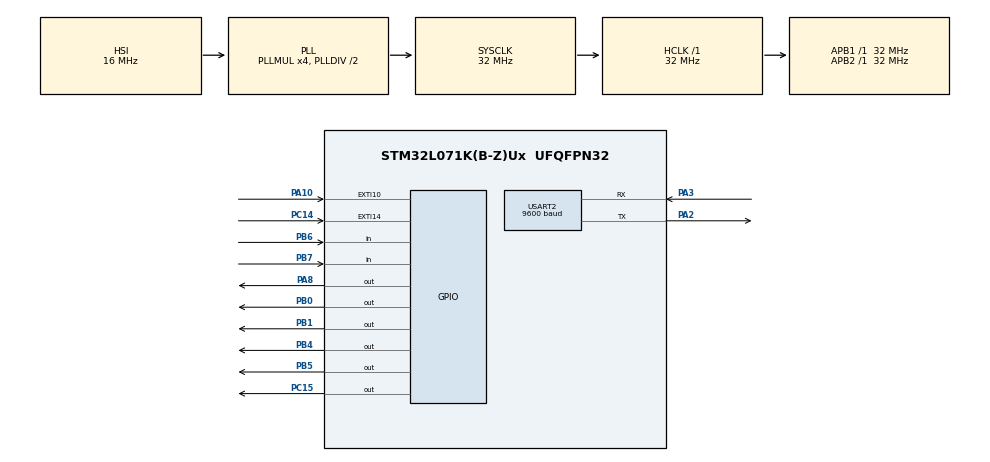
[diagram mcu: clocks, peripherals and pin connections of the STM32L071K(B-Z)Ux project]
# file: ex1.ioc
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Dma.MEMTOMEM.0.Direction=DMA_MEMORY_TO_MEMORY
Dma.MEMTOMEM.0.Instance=DMA1_Channel1
Dma.MEMTOMEM.0.MemDataAlignment=DMA_MDATAALIGN_BYTE
Dma.MEMTOMEM.0.MemInc=DMA_MINC_ENABLE
Dma.MEMTOMEM.0.Mode=DMA_NORMAL
Dma.MEMTOMEM.0.PeriphDataAlignment=DMA_PDATAALIGN_BYTE
Dma.MEMTOMEM.0.PeriphInc=DMA_PINC_ENABLE
Dma.MEMTOMEM.0.Priority=DMA_PRIORITY_LOW
Dma.Request0=MEMTOMEM
Dma.Request1=USART2_RX
Dma.USART2_RX.1.Direction=DMA_PERIPH_TO_MEMORY
Dma.USART2_RX.1.Instance=DMA1_Channel5
Dma.USART2_RX.1.MemDataAlignment=DMA_MDATAALIGN_BYTE
Dma.USART2_RX.1.MemInc=DMA_MINC_ENABLE
Dma.USART2_RX.1.Mode=DMA_CIRCULAR
Dma.USART2_RX.1.PeriphDataAlignment=DMA_PDATAALIGN_BYTE
Dma.USART2_RX.1.PeriphInc=DMA_PINC_DISABLE
Dma.USART2_RX.1.Priority=DMA_PRIORITY_LOW
Mcu.Family=STM32L0
Mcu.Name=STM32L071K(B-Z)Ux
Mcu.Package=UFQFPN32
NVIC.DMA1_Channel1_IRQn=true\:0\:0\:false\:false\:true\:true\:true
NVIC.DMA1_Channel4_5_6_7_IRQn=true\:0\:0\:false\:false\:true\:false\:true
NVIC.EXTI4_15_IRQn=true\:0\:0\:false\:false\:true\:true\:true
NVIC.TIM6_IRQn=true\:0\:0\:false\:false\:true\:true\:true
NVIC.USART2_IRQn=true\:0\:0\:false\:false\:true\:true\:true
PA10.GPIO_PuPd=GPIO_PULLUP
PA10.Signal=GPXTI10
PA13.Mode=Serial_Wire
PA13.Signal=SYS_SWDIO
PA14.Mode=Serial_Wire
PA14.Signal=SYS_SWCLK
PA2.Mode=Asynchronous
PA2.Signal=USART2_TX
PA3.Mode=Asynchronous
PA3.Signal=USART2_RX
PA8.GPIO_PuPd=GPIO_PULLDOWN
PA8.Signal=GPIO_Output
PB0.GPIO_PuPd=GPIO_PULLDOWN
PB0.Signal=GPIO_Output
PB1.GPIO_ModeDefaultOutputPP=GPIO_MODE_OUTPUT_PP
PB1.GPIO_PuPd=GPIO_PULLDOWN
PB1.Signal=GPIO_Output
PB4.Signal=GPIO_Output
PB5.Signal=GPIO_Output
PB6.GPIO_PuPd=GPIO_PULLDOWN
PB6.Signal=GPIO_Input
PB7.GPIO_PuPd=GPIO_PULLDOWN
PB7.Signal=GPIO_Input
PC14-OSC32_IN.GPIO_PuPd=GPIO_PULLDOWN
PC14-OSC32_IN.Signal=GPXTI14
PC15-OSC32_OUT.Signal=GPIO_Output
ProjectManager.HeapSize=0x200
ProjectManager.StackSize=0x400
ProjectManager.TargetToolchain=MDK-ARM V5
RCC.AHBFreq_Value=32000000
RCC.APB1Freq_Value=32000000
RCC.APB1TimFreq_Value=32000000
RCC.APB2Freq_Value=32000000
RCC.APB2TimFreq_Value=32000000
RCC.HCLKFreq_Value=32000000
RCC.HSI16_VALUE=16000000
RCC.HSI_VALUE=16000000
RCC.LSE_VALUE=32768
RCC.MSI_VALUE=2097000
RCC.PLLMUL=RCC_PLLMUL_4
RCC.SYSCLKFreq_VALUE=32000000
RCC.SYSCLKSource=RCC_SYSCLKSOURCE_PLLCLK
RCC.VCOOutputFreq_Value=64000000
RTC.Format=RTC_FORMAT_BIN
RTC.SynchPrediv=307
TIM6.Period=999
TIM6.Prescaler=31
USART2.BaudRate=9600
USART2.VirtualMode-Asynchronous=VM_ASYNC
VP_CRC_VS_CRC.Mode=CRC_Activate
VP_RTC_VS_RTC_Activate.Mode=RTC_Enabled
VP_RTC_VS_RTC_Calendar.Mode=RTC_Calendar
VP_TIM6_VS_ClockSourceINT.Mode=Enable_Timer
board=custom

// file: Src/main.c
/* USER CODE BEGIN Header */
/**
  ******************************************************************************
  * @file           : main.c
  * @brief          : Main program body
  ******************************************************************************
  * @attention
  *
  * <h2><center>&copy; Copyright (c) 2019 STMicroelectronics.
  * All rights reserved.</center></h2>
  *
  * This software component is licensed by ST under BSD 3-Clause license,
  * the "License"; You may not use this file except in compliance with the
  * License. You may obtain a copy of the License at:
  *                        opensource.org/licenses/BSD-3-Clause
  *
  ******************************************************************************
  */
/* USER CODE END Header */

#include "main.h"
#include "crc.h"
#include "dma.h"
#include "rtc.h"
#include "tim.h"
#include "usart.h"
#include "gpio.h"

/* USER CODE BEGIN Includes */
#include "stm32l0xx_hal.h"
#include "zm4xx_gpio.h"
#include "spi.h"
#include "timer.h"
#include "stddef.h"
#include "sx127x_lora.h"
#include "key.h"
/* USER CODE END Includes */

/* USER CODE BEGIN PTD */
#define FREQ  (433000000)
void SystemClock_Config(void);
void Hardware_Init(void);
radio_handle_t  handle;
 int ret = RADIO_RET_OK;

    uint16_t len = 0;
		uint8_t rx[50];
		uint8_t tx = 0x55;
		uint8_t cntr = 0;
	unsigned int time_10ms=1,time_100ms=1,time_500ms=1;
	unsigned int lora_flag=2,send_allow=1;
	unsigned char cmd1[]="0x0A,0x0B,0xB1,0xEE,0xEF";
	unsigned char cmd2[]="0x0A,0x0B,0xB2,0xEE,0xEF";
	unsigned char cmd3[]="0x0A,0x0B,0xB3,0xEE,0xEF";
/* USER CODE END PTD */

/* USER CODE BEGIN PD */
//	ret = radio_buf_recv(handle, &rx, &len);
//			if(ret == RADIO_RET_OK){
//				if(rx == 0xAA){
//						HAL_GPIO_TogglePin(GPIOC, GPIO_PIN_15);
//				}
//			}
//
//			if(++cntr == 40){
//				radio_buf_send(handle, &tx, 1); 	//
//				radio_mode_set(handle, RX_MODE);
//				cntr = 0;
//			}
/* USER CODE END PD */

void SystemClock_Config(void);

/* USER CODE BEGIN 0 */
void Task_BrdInit(void)
{
    HAL_GPIO_WritePin(GPIOC, GPIO_PIN_15, GPIO_PIN_SET);

    OLED_PowerControl(ENABLE);

    HAL_Delay(200);
    OLED_Init();
    OLED_Clear();

    OLED_ShowString(0, 0, (unsigned char *)"                ", 16);
    OLED_ShowString(0, 2, (unsigned char *)"                ", 16);
}
void LoRa_Init(void)
{

	handle = radio_zm4xx_inst_init(spi_recv_byte,spi_send_byte,zm4xx_rst_pin_set,zm4xx_sel_pin_set,delay_ms,delay_us);

	if(handle != NULL){
		if(RADIO_RET_OK == radio_freq_set(handle, FREQ)){
				HAL_GPIO_WritePin(GPIOC, GPIO_PIN_15,GPIO_PIN_RESET);
		}

		radio_mode_set(handle, RX_MODE);	//Receive Mode
	}
}
void key(void);
void terminal(void);
/* USER CODE END 0 */

int main(void)
{
  /* USER CODE BEGIN 1 */
    char lcdLine_1st_line[16];
    char lcdLine_2st_line[16];

  /* USER CODE END 1 */

  /* MCU Configuration--------------------------------------------------------*/

  /* Reset of all peripherals, Initializes the Flash interface and the Systick. */
  HAL_Init();

  /* Configure the system clock */
  SystemClock_Config();

  /* Initialize all configured peripherals */
  MX_GPIO_Init();
  MX_DMA_Init();
  MX_CRC_Init();
  MX_TIM6_Init();
  MX_USART2_UART_Init();
  MX_RTC_Init();
  /* USER CODE BEGIN 2 */
    Task_BrdInit();
		zm4xx_pin_init(); //LORA��Ҫ
    spi_init();//LORA��Ҫ
		LoRa_Init();
		HAL_TIM_Base_Start_IT(&htim6);
		sprintf(lcdLine_1st_line, "GXCT IOT       ");
		sprintf(lcdLine_2st_line, "Hello World    ");
  /* USER CODE END 2 */

  /* Infinite loop */
    while (1)
    {

    /* USER CODE BEGIN 3 */
			if(time_100ms==1)
			{
				OLED_ShowString(0, 0, (unsigned char *)lcdLine_1st_line, 16);
				OLED_ShowString(0, 2, (unsigned char *)lcdLine_2st_line, 16);
				time_100ms=0;
			}
			if(time_10ms==1)
			{
				key_scan();
			}
			key();
			terminal();
		}
  /* USER CODE END 3 */
}
/* USER CODE BEGIN 4 */
void terminal()
{
	if(lora_flag==1)
	{
		lora_flag=0;

	}
}
void key()
{
	if(key_flag!=0)
	{
		send_allow=0;
		if(key_flag==11)
		{
			radio_buf_send(handle, cmd1, strlen((char *)cmd1));
			radio_mode_set(handle, RX_MODE);
		}
		if(key_flag==12)
		{
			radio_buf_send(handle, cmd2, strlen((char *)cmd2));
			radio_mode_set(handle, RX_MODE);
		}
		if(key_flag==13)
		{
			radio_buf_send(handle, cmd3, strlen((char *)cmd3));
			radio_mode_set(handle, RX_MODE);
		}
		if(key_flag==21)
		{

		}
		send_allow=1;
		key_flag=0;
	}
}
void HAL_TIM_PeriodElapsedCallback(TIM_HandleTypeDef *htim)
{
	static unsigned int a1=0,a2=0;
	a1++;
	a2++;
	if(a2==6)
	{
		time_10ms=!time_10ms;
		a2=0;
	}
	if(a1==100)
	{
		time_100ms=!time_100ms;
		a1=0;
	}
}
void HAL_GPIO_EXTI_Callback(uint16_t GPIO_Pin)
{
	if(GPIO_Pin==GPIO_PIN_10)
	{
		if(send_allow==1)
		{
			ret = radio_buf_recv(handle, rx, &len);
			lora_flag=1;
		}
	}
	if(GPIO_Pin==GPIO_PIN_14)
	{

	}
}
/* USER CODE END 4 */
void SystemClock_Config(void)
{
  RCC_OscInitTypeDef RCC_OscInitStruct = {0};
  RCC_ClkInitTypeDef RCC_ClkInitStruct = {0};
  RCC_PeriphCLKInitTypeDef PeriphClkInit = {0};

  /** Configure the main internal regulator output voltage
  */
  __HAL_PWR_VOLTAGESCALING_CONFIG(PWR_REGULATOR_VOLTAGE_SCALE1);
  /** Initializes the CPU, AHB and APB busses clocks
  */
  RCC_OscInitStruct.OscillatorType = RCC_OSCILLATORTYPE_HSI|RCC_OSCILLATORTYPE_LSI;
  RCC_OscInitStruct.HSIState = RCC_HSI_ON;
  RCC_OscInitStruct.HSICalibrationValue = RCC_HSICALIBRATION_DEFAULT;
  RCC_OscInitStruct.LSIState = RCC_LSI_ON;
  RCC_OscInitStruct.PLL.PLLState = RCC_PLL_ON;
  RCC_OscInitStruct.PLL.PLLSource = RCC_PLLSOURCE_HSI;
  RCC_OscInitStruct.PLL.PLLMUL = RCC_PLLMUL_4;
  RCC_OscInitStruct.PLL.PLLDIV = RCC_PLLDIV_2;
  if (HAL_RCC_OscConfig(&RCC_OscInitStruct) != HAL_OK)
  {
    Error_Handler();
  }
  /** Initializes the CPU, AHB and APB busses clocks
  */
  RCC_ClkInitStruct.ClockType = RCC_CLOCKTYPE_HCLK|RCC_CLOCKTYPE_SYSCLK
                              |RCC_CLOCKTYPE_PCLK1|RCC_CLOCKTYPE_PCLK2;
  RCC_ClkInitStruct.SYSCLKSource = RCC_SYSCLKSOURCE_PLLCLK;
  RCC_ClkInitStruct.AHBCLKDivider = RCC_SYSCLK_DIV1;
  RCC_ClkInitStruct.APB1CLKDivider = RCC_HCLK_DIV1;
  RCC_ClkInitStruct.APB2CLKDivider = RCC_HCLK_DIV1;

  if (HAL_RCC_ClockConfig(&RCC_ClkInitStruct, FLASH_LATENCY_1) != HAL_OK)
  {
    Error_Handler();
  }
  PeriphClkInit.PeriphClockSelection = RCC_PERIPHCLK_USART2|RCC_PERIPHCLK_RTC;
  PeriphClkInit.Usart2ClockSelection = RCC_USART2CLKSOURCE_PCLK1;
  PeriphClkInit.RTCClockSelection = RCC_RTCCLKSOURCE_LSI;
  if (HAL_RCCEx_PeriphCLKConfig(&PeriphClkInit) != HAL_OK)
  {
    Error_Handler();
  }
}

void Error_Handler(void)
{
}

/************************ (C) COPYRIGHT STMicroelectronics *****END OF FILE****/
